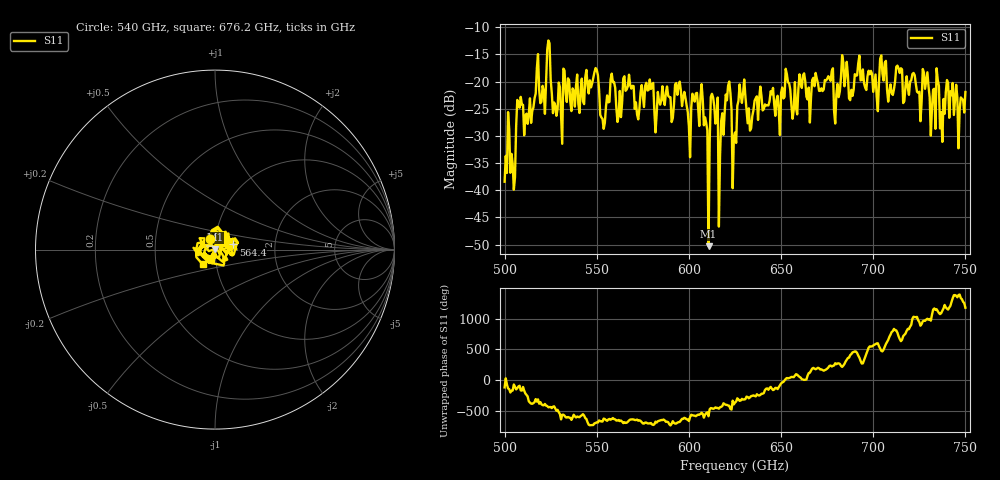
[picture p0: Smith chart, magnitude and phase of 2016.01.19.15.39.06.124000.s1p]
!Created with skrf (http://scikit-rf.org).
# GHz S RI R 50.0
!freq ReS11 ImS11
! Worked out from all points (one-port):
!   401 points, 500 GHz to 750 GHz, reference 50 ohm
!   lowest |S11| = -50.3 dB at 610.6 GHz (marker M1), VSWR 1.01, Z = 49.8 + j0.24 ohm
!   |S11| at or under -10 dB: start of sweep to end of sweep
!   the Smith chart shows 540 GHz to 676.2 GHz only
!   S11 on the Smith chart (normalised r, x): 540 GHz: 0.94, +0.11; 564.4 GHz: 1.23, +0.07; 676.2 GHz: 0.86, -0.14
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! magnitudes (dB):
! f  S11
! 500 GHz  -38.4
! 504.4 GHz  -35.1
! 508.1 GHz  -24.8
! 520.6 GHz  -20.8
! 523.8 GHz  -12.4
! 526.9 GHz  -23.8
! 531.2 GHz  -31.4
! 540 GHz  -24.0
! 549.4 GHz  -17.5
! 553.1 GHz  -26.9
! 558.8 GHz  -20.1
! 562.5 GHz  -21.7
! 564.4 GHz  -19.4
! 593.8 GHz  -22.4
! 600 GHz  -28.3
! 607.5 GHz  -23.3
! 610.6 GHz  -50.3
! 613.1 GHz  -22.9
! 617.5 GHz  -27.2
! 621.2 GHz  -20.7
! 625 GHz  -29.4
! 628.8 GHz  -23.9
! 633.1 GHz  -29.0
! 656.2 GHz  -26.8
! 676.2 GHz  -19.4
! 687.5 GHz  -23.4
! 718.8 GHz  -21.1
! 750 GHz  -21.9
